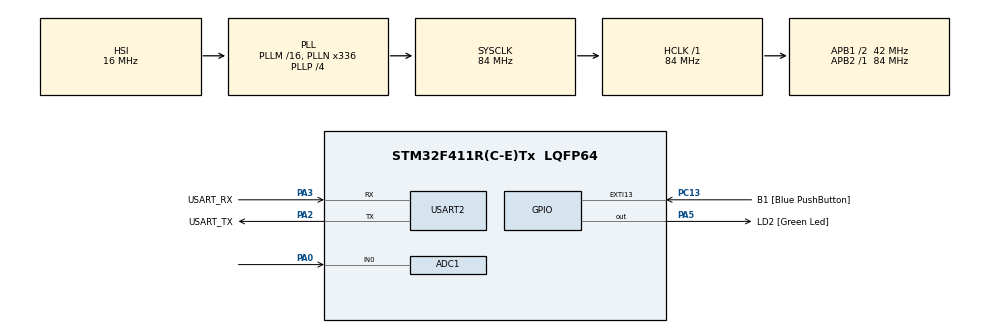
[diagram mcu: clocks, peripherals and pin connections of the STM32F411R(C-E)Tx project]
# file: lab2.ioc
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ADC1.Channel-0\#ChannelRegularConversion=ADC_CHANNEL_0
ADC1.Channel-1\#ChannelRegularConversion=ADC_CHANNEL_TEMPSENSOR
ADC1.ContinuousConvMode=ENABLE
ADC1.DMAContinuousRequests=ENABLE
ADC1.NbrOfConversion=2
ADC1.NbrOfConversionFlag=1
ADC1.Rank-0\#ChannelRegularConversion=1
ADC1.Rank-1\#ChannelRegularConversion=2
ADC1.SamplingTime-0\#ChannelRegularConversion=ADC_SAMPLETIME_56CYCLES
ADC1.SamplingTime-1\#ChannelRegularConversion=ADC_SAMPLETIME_56CYCLES
ADC1.ScanConvMode=ENABLE
ADC1.master=1
Dma.ADC1.0.Direction=DMA_PERIPH_TO_MEMORY
Dma.ADC1.0.FIFOMode=DMA_FIFOMODE_DISABLE
Dma.ADC1.0.Instance=DMA2_Stream0
Dma.ADC1.0.MemDataAlignment=DMA_MDATAALIGN_HALFWORD
Dma.ADC1.0.MemInc=DMA_MINC_ENABLE
Dma.ADC1.0.Mode=DMA_CIRCULAR
Dma.ADC1.0.PeriphDataAlignment=DMA_PDATAALIGN_HALFWORD
Dma.ADC1.0.PeriphInc=DMA_PINC_DISABLE
Dma.ADC1.0.Priority=DMA_PRIORITY_LOW
Dma.Request0=ADC1
Mcu.Family=STM32F4
Mcu.Name=STM32F411R(C-E)Tx
Mcu.Package=LQFP64
NVIC.ADC_IRQn=true\:0\:0\:false\:false\:true\:true\:true\:true
NVIC.DMA2_Stream0_IRQn=true\:0\:0\:false\:false\:true\:false\:true\:true
NVIC.EXTI15_10_IRQn=true\:0\:0\:false\:false\:true\:true\:true\:true
NVIC.PriorityGroup=NVIC_PRIORITYGROUP_0
PA0-WKUP.Signal=ADCx_IN0
PA13.GPIO_Label=TMS
PA13.Mode=Serial_Wire
PA13.Signal=SYS_JTMS-SWDIO
PA14.GPIO_Label=TCK
PA14.Mode=Serial_Wire
PA14.Signal=SYS_JTCK-SWCLK
PA2.GPIO_Label=USART_TX
PA2.Mode=Asynchronous
PA2.Signal=USART2_TX
PA3.GPIO_Label=USART_RX
PA3.Mode=Asynchronous
PA3.Signal=USART2_RX
PA5.GPIO_Label=LD2 [Green Led]
PA5.Signal=GPIO_Output
PB3.GPIO_Label=SWO
PB3.Signal=SYS_JTDO-SWO
PC13-ANTI_TAMP.GPIO_Label=B1 [Blue PushButton]
PC13-ANTI_TAMP.GPIO_ModeDefaultEXTI=GPIO_MODE_IT_FALLING
PC13-ANTI_TAMP.Signal=GPXTI13
PC14-OSC32_IN.Mode=LSE-External-Oscillator
PC14-OSC32_IN.Signal=RCC_OSC32_IN
PC15-OSC32_OUT.Mode=LSE-External-Oscillator
PC15-OSC32_OUT.Signal=RCC_OSC32_OUT
PH0\ -\ OSC_IN.Mode=HSE-External-Clock-Source
PH0\ -\ OSC_IN.Signal=RCC_OSC_IN
PH1\ -\ OSC_OUT.Mode=HSE-External-Clock-Source
PH1\ -\ OSC_OUT.Signal=RCC_OSC_OUT
ProjectManager.HeapSize=0x200
ProjectManager.StackSize=0x400
ProjectManager.TargetToolchain=STM32CubeIDE
RCC.48MHZClocksFreq_Value=84000000
RCC.AHBFreq_Value=84000000
RCC.APB1CLKDivider=RCC_HCLK_DIV2
RCC.APB1Freq_Value=42000000
RCC.APB1TimFreq_Value=84000000
RCC.APB2Freq_Value=84000000
RCC.APB2TimFreq_Value=84000000
RCC.CortexFreq_Value=84000000
RCC.FLatency-AdvancedSettings=FLASH_LATENCY_2
RCC.HCLKFreq_Value=84000000
RCC.HSE_VALUE=8000000
RCC.HSI_VALUE=16000000
RCC.PLLN=336
RCC.PLLP=RCC_PLLP_DIV4
RCC.SYSCLKFreq_VALUE=84000000
RCC.SYSCLKSource=RCC_SYSCLKSOURCE_PLLCLK
RCC.VCOOutputFreq_Value=336000000
SH.ADCx_IN0.0=ADC1_IN0,IN0
USART2.VirtualMode=VM_ASYNC
VP_ADC1_TempSens_Input.Mode=IN-TempSens
board=NUCLEO-F411RE

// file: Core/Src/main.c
/* USER CODE BEGIN Header */
/**
  ******************************************************************************
  * @file           : main.c
  * @brief          : Main program body
  ******************************************************************************
  * @attention
  *
  * Copyright (c) 2023 STMicroelectronics.
  * All rights reserved.
  *
  * This software is licensed under terms that can be found in the LICENSE file
  * in the root directory of this software component.
  * If no LICENSE file comes with this software, it is provided AS-IS.
  *
  ******************************************************************************
  */
/* USER CODE END Header */
#include "main.h"

ADC_HandleTypeDef hadc1;
DMA_HandleTypeDef hdma_adc1;

UART_HandleTypeDef huart2;

/* USER CODE BEGIN PV */
typedef struct
{
	uint16_t IN0; //set in0
	uint16_t Temp; //set temp

}ADCDMABuffer;

ADCDMABuffer adcdmabuffer[10]; // set

uint16_t AvgVin = 0; // AvgVin (bit)
uint16_t Vin = 0; //  translate Vin(bit) to mV

uint16_t AvgTemp = 0 ; // bit
uint16_t TemptoKevin = 0 ;  // K
/* USER CODE END PV */

void SystemClock_Config(void);
static void MX_GPIO_Init(void);
static void MX_DMA_Init(void);
static void MX_USART2_UART_Init(void);
static void MX_ADC1_Init(void);

int main(void)
{

  /* MCU Configuration--------------------------------------------------------*/

  /* Reset of all peripherals, Initializes the Flash interface and the Systick. */
  HAL_Init();

  /* Configure the system clock */
  SystemClock_Config();

  /* Initialize all configured peripherals */
  MX_GPIO_Init();
  MX_DMA_Init();
  MX_USART2_UART_Init();
  MX_ADC1_Init();
  /* USER CODE BEGIN 2 */
  HAL_ADC_Start_DMA(&hadc1, (uint32_t*) adcdmabuffer, 20); //start DMA
  /* USER CODE END 2 */

  /* Infinite loop */
  while (1)
  {

    /* USER CODE BEGIN 3 */
		static uint32_t timestamp = 0;
			if (HAL_GetTick() >= timestamp)
			{
				timestamp = HAL_GetTick() + 1000;

				//register int i;
				AvgVin = 0 ;  //set start
				AvgTemp = 0 ; //set start

				for (int i = 0; i < 10; i++)
				{
					AvgVin += adcdmabuffer[i].IN0 ;
					AvgTemp += adcdmabuffer[i].Temp ;

					if (i == 9)
					{
						AvgVin = AvgVin / 10 ; // find Avg Vin
						AvgTemp = AvgTemp / 10 ; // find Avg Temp
					}
				}
					Vin = (( AvgVin * 3.3 * 1000) / 4096 )* 2;  //find Vin * 2 because voltage div
					TemptoKevin = (((( AvgTemp * 3.3 * 1000) / 4096 ) - (0.76 * 1000)) / 2.5 ) + 25 + 273.15; //find Temp
					 // V25 = 0.76 mV. = 0.76 * 10^3
					//  (( AvgTemp * 3.3 * 1000) / 4096 )  bit to mV.
					//  + 273.15   C to Kevin

					//AvgVin = 0 ;  //set start
					//AvgTemp = 0 ; //set start

			}
  }
  /* USER CODE END 3 */
}

void SystemClock_Config(void)
{
  RCC_OscInitTypeDef RCC_OscInitStruct = {0};
  RCC_ClkInitTypeDef RCC_ClkInitStruct = {0};

  /** Configure the main internal regulator output voltage
  */
  __HAL_RCC_PWR_CLK_ENABLE();
  __HAL_PWR_VOLTAGESCALING_CONFIG(PWR_REGULATOR_VOLTAGE_SCALE1);

  /** Initializes the RCC Oscillators according to the specified parameters
  * in the RCC_OscInitTypeDef structure.
  */
  RCC_OscInitStruct.OscillatorType = RCC_OSCILLATORTYPE_HSI;
  RCC_OscInitStruct.HSIState = RCC_HSI_ON;
  RCC_OscInitStruct.HSICalibrationValue = RCC_HSICALIBRATION_DEFAULT;
  RCC_OscInitStruct.PLL.PLLState = RCC_PLL_ON;
  RCC_OscInitStruct.PLL.PLLSource = RCC_PLLSOURCE_HSI;
  RCC_OscInitStruct.PLL.PLLM = 16;
  RCC_OscInitStruct.PLL.PLLN = 336;
  RCC_OscInitStruct.PLL.PLLP = RCC_PLLP_DIV4;
  RCC_OscInitStruct.PLL.PLLQ = 4;
  if (HAL_RCC_OscConfig(&RCC_OscInitStruct) != HAL_OK)
  {
    Error_Handler();
  }

  /** Initializes the CPU, AHB and APB buses clocks
  */
  RCC_ClkInitStruct.ClockType = RCC_CLOCKTYPE_HCLK|RCC_CLOCKTYPE_SYSCLK
                              |RCC_CLOCKTYPE_PCLK1|RCC_CLOCKTYPE_PCLK2;
  RCC_ClkInitStruct.SYSCLKSource = RCC_SYSCLKSOURCE_PLLCLK;
  RCC_ClkInitStruct.AHBCLKDivider = RCC_SYSCLK_DIV1;
  RCC_ClkInitStruct.APB1CLKDivider = RCC_HCLK_DIV2;
  RCC_ClkInitStruct.APB2CLKDivider = RCC_HCLK_DIV1;

  if (HAL_RCC_ClockConfig(&RCC_ClkInitStruct, FLASH_LATENCY_2) != HAL_OK)
  {
    Error_Handler();
  }
}

static void MX_ADC1_Init(void)
{

  ADC_ChannelConfTypeDef sConfig = {0};

  /** Configure the global features of the ADC (Clock, Resolution, Data Alignment and number of conversion)
  */
  hadc1.Instance = ADC1;
  hadc1.Init.ClockPrescaler = ADC_CLOCK_SYNC_PCLK_DIV4;
  hadc1.Init.Resolution = ADC_RESOLUTION_12B;
  hadc1.Init.ScanConvMode = ENABLE;
  hadc1.Init.ContinuousConvMode = ENABLE;
  hadc1.Init.DiscontinuousConvMode = DISABLE;
  hadc1.Init.ExternalTrigConvEdge = ADC_EXTERNALTRIGCONVEDGE_NONE;
  hadc1.Init.ExternalTrigConv = ADC_SOFTWARE_START;
  hadc1.Init.DataAlign = ADC_DATAALIGN_RIGHT;
  hadc1.Init.NbrOfConversion = 2;
  hadc1.Init.DMAContinuousRequests = ENABLE;
  hadc1.Init.EOCSelection = ADC_EOC_SINGLE_CONV;
  if (HAL_ADC_Init(&hadc1) != HAL_OK)
  {
    Error_Handler();
  }

  /** Configure for the selected ADC regular channel its corresponding rank in the sequencer and its sample time.
  */
  sConfig.Channel = ADC_CHANNEL_0;
  sConfig.Rank = 1;
  sConfig.SamplingTime = ADC_SAMPLETIME_56CYCLES;
  if (HAL_ADC_ConfigChannel(&hadc1, &sConfig) != HAL_OK)
  {
    Error_Handler();
  }

  /** Configure for the selected ADC regular channel its corresponding rank in the sequencer and its sample time.
  */
  sConfig.Channel = ADC_CHANNEL_TEMPSENSOR;
  sConfig.Rank = 2;
  if (HAL_ADC_ConfigChannel(&hadc1, &sConfig) != HAL_OK)
  {
    Error_Handler();
  }

}

static void MX_USART2_UART_Init(void)
{

  huart2.Instance = USART2;
  huart2.Init.BaudRate = 115200;
  huart2.Init.WordLength = UART_WORDLENGTH_8B;
  huart2.Init.StopBits = UART_STOPBITS_1;
  huart2.Init.Parity = UART_PARITY_NONE;
  huart2.Init.Mode = UART_MODE_TX_RX;
  huart2.Init.HwFlowCtl = UART_HWCONTROL_NONE;
  huart2.Init.OverSampling = UART_OVERSAMPLING_16;
  if (HAL_UART_Init(&huart2) != HAL_OK)
  {
    Error_Handler();
  }

}

static void MX_DMA_Init(void)
{

  /* DMA controller clock enable */
  __HAL_RCC_DMA2_CLK_ENABLE();

  /* DMA interrupt init */
  /* DMA2_Stream0_IRQn interrupt configuration */
  HAL_NVIC_SetPriority(DMA2_Stream0_IRQn, 0, 0);
  HAL_NVIC_EnableIRQ(DMA2_Stream0_IRQn);

}

static void MX_GPIO_Init(void)
{
  GPIO_InitTypeDef GPIO_InitStruct = {0};

  /* GPIO Ports Clock Enable */
  __HAL_RCC_GPIOC_CLK_ENABLE();
  __HAL_RCC_GPIOH_CLK_ENABLE();
  __HAL_RCC_GPIOA_CLK_ENABLE();
  __HAL_RCC_GPIOB_CLK_ENABLE();

  /*Configure GPIO pin Output Level */
  HAL_GPIO_WritePin(LD2_GPIO_Port, LD2_Pin, GPIO_PIN_RESET);

  /*Configure GPIO pin : B1_Pin */
  GPIO_InitStruct.Pin = B1_Pin;
  GPIO_InitStruct.Mode = GPIO_MODE_IT_FALLING;
  GPIO_InitStruct.Pull = GPIO_NOPULL;
  HAL_GPIO_Init(B1_GPIO_Port, &GPIO_InitStruct);

  /*Configure GPIO pin : LD2_Pin */
  GPIO_InitStruct.Pin = LD2_Pin;
  GPIO_InitStruct.Mode = GPIO_MODE_OUTPUT_PP;
  GPIO_InitStruct.Pull = GPIO_NOPULL;
  GPIO_InitStruct.Speed = GPIO_SPEED_FREQ_LOW;
  HAL_GPIO_Init(LD2_GPIO_Port, &GPIO_InitStruct);

  /* EXTI interrupt init*/
  HAL_NVIC_SetPriority(EXTI15_10_IRQn, 0, 0);
  HAL_NVIC_EnableIRQ(EXTI15_10_IRQn);

}

void Error_Handler(void)
{
  __disable_irq();
  while (1)
  {
  }
}
